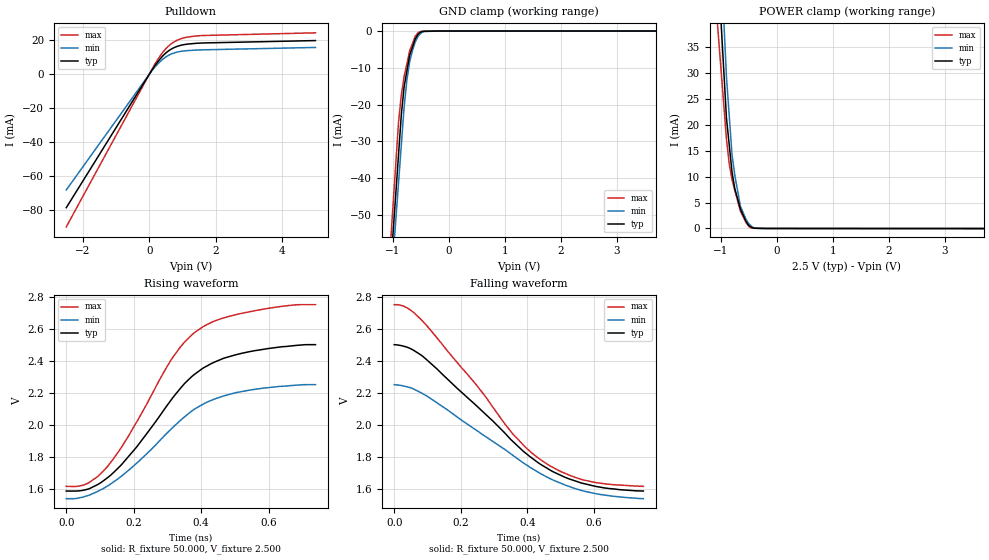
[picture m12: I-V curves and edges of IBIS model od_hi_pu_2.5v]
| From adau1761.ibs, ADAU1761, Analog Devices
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[Model]   od_hi_pu_2.5v
Model_type I/O_open_drain
Vinl=7.500E-01
Vinh=1.750E+00
Vref=2.500E+00
Rref=2.000E+03
Cref=0.000E+00
Vmeas=1.250E+00
C_comp   5.9300E-13   5.6335E-13   6.2265E-13
[Voltage Range]   2.500E+00   2.250E+00   2.750E+00
[POWER Clamp Reference]   2.500E+00   2.250E+00   2.750E+00
[GND Clamp Reference]   0.000E+00   0.000E+00   0.000E+00
[Pullup Reference]   2.500E+00   2.250E+00   2.750E+00
[Pulldown Reference]   0.000E+00   0.000E+00   0.000E+00
[Temperature Range]   25   85   -40
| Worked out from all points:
|   slope of the pulldown table from 0 to 0.375 V, typ, clamps not added: 37.2 ohm
|   GND clamp passes 1 mA (typ) near -0.55 V on its own axis
|   POWER clamp passes 1 mA (typ) near -0.53 V on its own axis
|   rising waveform, R_fixture 50.000, V_fixture 2.500: 20-80 % time 211ps typ, 224ps min, 196ps max; typ from 1.58 V to 2.5 V
|   falling waveform, R_fixture 50.000, V_fixture 2.500: 20-80 % time 285ps typ, 303ps min, 268ps max; typ from 2.5 V to 1.58 V
[GND Clamp]
-2.5V     -381.4mA   -371.5mA   -393.2mA
-900mV    -33.63mA   -41.3mA    -24.8mA
-850mV    -22.77mA   -30.99mA   -17.38mA
-800mV    -15.14mA   -20.67mA   -12.36mA
-750mV    -10.83mA   -13.28mA   -8.858mA
-700mV    -6.525mA   -8.291mA   -5.352mA
-650mV    -4.332mA   -5.277mA   -3.365mA
-600mV    -2.14mA    -2.967mA   -1.379mA
-550mV    -873.5uA   -1.422mA   -434.8uA
-450mV    -57.55uA   -158uA     -76.16uA
-225mV    -9.459uA   -6.37uA    -2.898uA
5V        0A         0A         0A
[POWER Clamp]
-2.5V     329.8mA    398.8mA    238.5mA
-1.05V    50.29mA    63.99mA    38.07mA
-900mV    21.38mA    29.35mA    17.33mA
-850mV    16.12mA    21.78mA    12.5mA
-800mV    10.87mA    14.21mA    9.381mA
-750mV    7.671mA    10.27mA    7.354mA
-650mV    3.756mA    4.291mA    3.302mA
-550mV    1.324mA    1.775mA    1.159mA
-500mV    588.3uA    917.8uA    377.4uA
-450mV    189.3uA    378.1uA    89.67uA
-300mV    17.92uA    0A         51.24uA
5V        -20uA      -33.33uA   -12.5uA
[Pulldown]
-2.5V     -78.38mA   -67.96mA   -89.64mA
80mV      2.471mA    2.058mA    2.921mA
180mV     5.361mA    4.44mA     6.364mA
400mV     10.64mA    8.696mA    12.73mA
620mV     14.28mA    11.5mA     17.26mA
940mV     16.93mA    13.38mA    20.76mA
1.38V     18.09mA    14.14mA    22.39mA
5V        19.75mA    15.71mA    24.29mA
[Rising Waveform]
R_fixture = 50.000
V_fixture = 2.500
V_fixture_min = 2.250
V_fixture_max = 2.750
|  time   V(typ)   V(min)   V(max)
0s        1.585V     1.537V     1.614V
62ps      1.596V     1.555V     1.632V
121ps     1.666V     1.615V     1.735V
206ps     1.853V     1.754V     2.007V
311ps     2.155V     1.972V     2.405V
350ps     2.255V     2.048V     2.514V
384ps     2.32V      2.102V     2.581V
437ps     2.389V     2.158V     2.645V
521ps     2.446V     2.207V     2.696V
739ps     2.5V       2.25V      2.75V
[Falling Waveform]
R_fixture = 50.000
V_fixture = 2.500
V_fixture_min = 2.250
V_fixture_max = 2.750
|  time   V(typ)   V(min)   V(max)
0s        2.5V       2.25V      2.75V
39ps      2.484V     2.236V     2.73V
85ps      2.428V     2.195V     2.648V
251ps     2.111V     1.96V      2.238V
357ps     1.894V     1.807V     1.941V
442ps     1.749V     1.692V     1.778V
499ps     1.685V     1.635V     1.709V
566ps     1.633V     1.587V     1.656V
638ps     1.603V     1.558V     1.629V
749ps     1.585V     1.537V     1.614V
[Ramp]
dV/dt_r   5.4918E-01/2.1080E-10   4.2786E-01/2.2380E-10   6.8154E-01/1.9540E-10
dV/dt_f   5.4918E-01/2.8512E-10   4.2786E-01/3.0256E-10   6.8154E-01/2.6753E-10
R_load = 50
